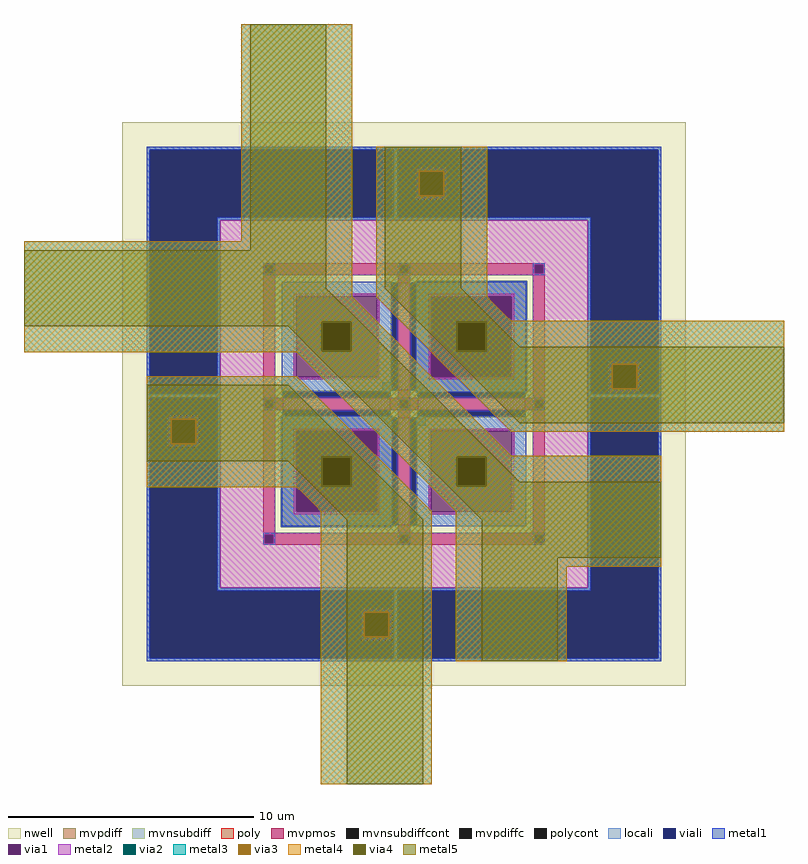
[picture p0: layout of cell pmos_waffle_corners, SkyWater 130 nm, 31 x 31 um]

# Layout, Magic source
magic
tech sky130A
<< nwell >>
rect -1125 -1175 1175 1125
<< mvpmos >>
rect 0 31 50 469
rect -469 -50 -31 0
rect 81 -50 519 0
rect 0 -519 50 -81
<< mvpdiff >>
rect 79 469 521 471
rect -29 463 0 469
rect -29 64 -23 463
rect -64 37 -23 64
rect -6 37 0 463
rect -64 31 0 37
rect 50 463 521 469
rect 50 37 56 463
rect 73 415 521 463
rect 73 85 135 415
rect 465 85 521 415
rect 73 37 521 85
rect 50 31 521 37
rect -64 29 -31 31
rect -469 23 -31 29
rect -469 6 -463 23
rect -37 6 -31 23
rect -469 0 -31 6
rect 79 29 521 31
rect 81 23 519 29
rect 81 6 87 23
rect 513 6 519 23
rect 81 0 519 6
rect -469 -56 -31 -50
rect -469 -73 -463 -56
rect -37 -73 -31 -56
rect -469 -79 -31 -73
rect -471 -81 -29 -79
rect 81 -56 519 -50
rect 81 -73 87 -56
rect 513 -73 519 -56
rect 81 -79 519 -73
rect 81 -81 114 -79
rect -471 -87 0 -81
rect -471 -135 -23 -87
rect -471 -465 -415 -135
rect -85 -465 -23 -135
rect -471 -513 -23 -465
rect -6 -513 0 -87
rect -471 -519 0 -513
rect 50 -87 114 -81
rect 50 -513 56 -87
rect 73 -114 114 -87
rect 73 -513 79 -114
rect 50 -519 79 -513
rect -471 -521 -29 -519
<< mvpdiffc >>
rect -23 37 -6 463
rect 56 37 73 463
rect -463 6 -37 23
rect 87 6 513 23
rect -463 -73 -37 -56
rect 87 -73 513 -56
rect -23 -513 -6 -87
rect 56 -513 73 -87
<< mvnsubdiff >>
rect -1025 1013 1075 1025
rect -1025 17 -1013 1013
rect -17 737 0 1013
rect -737 725 787 737
rect -737 17 -725 725
rect -1025 0 -725 17
rect -1025 -1063 -1013 0
rect -737 -775 -725 0
rect 135 403 465 415
rect 135 97 147 403
rect 453 97 465 403
rect 135 85 465 97
rect -415 -147 -85 -135
rect -415 -453 -403 -147
rect -97 -453 -85 -147
rect -415 -465 -85 -453
rect 775 17 787 725
rect 1063 17 1075 1013
rect 775 0 1075 17
rect 775 -775 787 0
rect -737 -787 787 -775
rect -17 -1063 0 -787
rect 1063 -1063 1075 0
rect -1025 -1075 1075 -1063
<< mvnsubdiffcont >>
rect -1013 737 -17 1013
rect 0 737 1063 1013
rect -1013 17 -737 737
rect -1013 -787 -737 0
rect 147 97 453 403
rect -403 -453 -97 -147
rect 787 17 1063 737
rect 787 -787 1063 0
rect -1013 -1063 -17 -787
rect 0 -1063 1063 -787
<< poly >>
rect -550 542 600 550
rect -550 508 -542 542
rect -508 508 8 542
rect 42 508 558 542
rect 592 508 600 542
rect -550 500 600 508
rect -550 0 -500 500
rect 0 469 50 500
rect 0 0 50 31
rect 550 0 600 500
rect -550 -8 -469 0
rect -550 -42 -542 -8
rect -508 -42 -469 -8
rect -550 -50 -469 -42
rect -31 -8 81 0
rect -31 -42 8 -8
rect 42 -42 81 -8
rect -31 -50 81 -42
rect 519 -8 600 0
rect 519 -42 558 -8
rect 592 -42 600 -8
rect 519 -50 600 -42
rect -550 -550 -500 -50
rect 0 -81 50 -50
rect 0 -550 50 -519
rect 550 -550 600 -50
rect -550 -558 600 -550
rect -550 -592 -542 -558
rect -508 -592 8 -558
rect 42 -592 558 -558
rect 592 -592 600 -558
rect -550 -600 600 -592
<< polycont >>
rect -542 508 -508 542
rect 8 508 42 542
rect 558 508 592 542
rect -542 -42 -508 -8
rect 8 -42 42 -8
rect 558 -42 592 -8
rect -542 -592 -508 -558
rect 8 -592 42 -558
rect 558 -592 592 -558
<< locali >>
rect -1025 1013 1075 1025
rect -1025 17 -1013 1013
rect -17 737 0 1013
rect -737 725 787 737
rect -737 17 -725 725
rect -550 542 -500 550
rect -550 508 -542 542
rect -508 508 -500 542
rect -550 500 -500 508
rect 0 542 50 550
rect 0 508 8 542
rect 42 508 50 542
rect 0 500 50 508
rect 550 542 600 550
rect 550 508 558 542
rect 592 508 600 542
rect 550 500 600 508
rect 73 471 527 477
rect -23 463 -6 471
rect -64 37 -23 64
rect -64 29 -6 37
rect 56 463 527 471
rect 73 415 527 463
rect 73 85 135 415
rect 465 85 527 415
rect 73 37 527 85
rect 56 29 527 37
rect -64 23 -29 29
rect 73 23 527 29
rect -1025 0 -725 17
rect -471 6 -463 23
rect -37 6 -29 23
rect 79 6 87 23
rect 513 6 521 23
rect 775 17 787 725
rect 1063 17 1075 1013
rect 775 0 1075 17
rect -1025 -1063 -1013 0
rect -737 -775 -725 0
rect -550 -8 -500 0
rect -550 -42 -542 -8
rect -508 -42 -500 -8
rect -550 -50 -500 -42
rect 0 -8 50 0
rect 0 -42 8 -8
rect 42 -42 50 -8
rect 0 -50 50 -42
rect 550 -8 600 0
rect 550 -42 558 -8
rect 592 -42 600 -8
rect 550 -50 600 -42
rect -471 -73 -463 -56
rect -37 -73 -29 -56
rect 79 -73 87 -56
rect 513 -73 521 -56
rect -477 -79 -23 -73
rect 79 -79 114 -73
rect -477 -87 -6 -79
rect -477 -135 -23 -87
rect -477 -465 -415 -135
rect -85 -465 -23 -135
rect -477 -513 -23 -465
rect -477 -521 -6 -513
rect 56 -87 114 -79
rect 73 -114 114 -87
rect 56 -521 73 -513
rect -477 -527 -23 -521
rect -550 -558 -500 -550
rect -550 -592 -542 -558
rect -508 -592 -500 -558
rect -550 -600 -500 -592
rect 0 -558 50 -550
rect 0 -592 8 -558
rect 42 -592 50 -558
rect 0 -600 50 -592
rect 550 -558 600 -550
rect 550 -592 558 -558
rect 592 -592 600 -558
rect 550 -600 600 -592
rect 775 -775 787 0
rect -737 -787 787 -775
rect -17 -1063 0 -787
rect 1063 -1063 1075 0
rect -1025 -1075 1075 -1063
<< viali >>
rect -1013 737 -19 1013
rect 0 737 1063 1013
rect -1013 19 -737 737
rect -542 508 -508 542
rect 8 508 42 542
rect 558 508 592 542
rect -23 37 -6 463
rect 56 37 73 463
rect 135 403 465 415
rect 135 97 147 403
rect 147 97 453 403
rect 453 97 465 403
rect 135 85 465 97
rect -463 6 -37 23
rect 87 6 513 23
rect 787 19 1063 737
rect -1013 -787 -737 0
rect -542 -42 -508 -8
rect 8 -42 42 -8
rect 558 -42 592 -8
rect -463 -73 -37 -56
rect 87 -73 513 -56
rect -415 -147 -85 -135
rect -415 -453 -403 -147
rect -403 -453 -97 -147
rect -97 -453 -85 -147
rect -415 -465 -85 -453
rect -23 -513 -6 -87
rect 56 -513 73 -87
rect -542 -592 -508 -558
rect 8 -592 42 -558
rect 558 -592 592 -558
rect 787 -787 1063 0
rect -1013 -1063 -19 -787
rect 0 -1063 1063 -787
<< metal1 >>
rect -1025 1013 1075 1025
rect -1025 19 -1013 1013
rect -19 737 0 1013
rect -737 725 787 737
rect -737 19 -725 725
rect -550 542 -500 550
rect -550 508 -542 542
rect -508 508 -500 542
rect -550 500 -500 508
rect 0 542 50 550
rect 0 508 8 542
rect 42 508 50 542
rect 0 500 50 508
rect 550 542 600 550
rect 550 508 558 542
rect 592 508 600 542
rect 550 500 600 508
rect -474 469 -26 474
rect 76 469 524 474
rect -474 463 -3 469
rect -474 415 -23 463
rect -474 85 -415 415
rect -85 85 -23 415
rect -474 37 -23 85
rect -6 37 -3 463
rect -474 31 -3 37
rect 53 463 524 469
rect 53 37 56 463
rect 73 415 524 463
rect 73 85 135 415
rect 465 85 524 415
rect 73 37 524 85
rect 53 31 524 37
rect -474 26 -26 31
rect 76 26 524 31
rect -1025 0 -725 19
rect -469 23 -31 26
rect -469 6 -463 23
rect -37 6 -31 23
rect -469 3 -31 6
rect 81 23 519 26
rect 81 6 87 23
rect 513 6 519 23
rect 81 3 519 6
rect 775 19 787 725
rect 1063 19 1075 1013
rect 775 0 1075 19
rect -1025 -1063 -1013 0
rect -737 -775 -725 0
rect -550 -8 -500 0
rect -550 -42 -542 -8
rect -508 -42 -500 -8
rect -550 -50 -500 -42
rect 0 -8 50 0
rect 0 -42 8 -8
rect 42 -42 50 -8
rect 0 -50 50 -42
rect 550 -8 600 0
rect 550 -42 558 -8
rect 592 -42 600 -8
rect 550 -50 600 -42
rect -469 -56 -31 -53
rect -469 -73 -463 -56
rect -37 -73 -31 -56
rect -469 -76 -31 -73
rect 81 -56 519 -53
rect 81 -73 87 -56
rect 513 -73 519 -56
rect 81 -76 519 -73
rect -474 -81 -26 -76
rect 76 -81 524 -76
rect -474 -87 -3 -81
rect -474 -135 -23 -87
rect -474 -465 -415 -135
rect -85 -465 -23 -135
rect -474 -513 -23 -465
rect -6 -513 -3 -87
rect -474 -519 -3 -513
rect 53 -87 524 -81
rect 53 -513 56 -87
rect 73 -135 524 -87
rect 73 -465 135 -135
rect 465 -465 524 -135
rect 73 -513 524 -465
rect 53 -519 524 -513
rect -474 -524 -26 -519
rect 76 -524 524 -519
rect -550 -558 -500 -550
rect -550 -592 -542 -558
rect -508 -592 -500 -558
rect -550 -600 -500 -592
rect 0 -558 50 -550
rect 0 -592 8 -558
rect 42 -592 50 -558
rect 0 -600 50 -592
rect 550 -558 600 -550
rect 550 -592 558 -558
rect 592 -592 600 -558
rect 550 -600 600 -592
rect 775 -775 787 0
rect -737 -787 787 -775
rect -19 -1063 0 -787
rect 1063 -1063 1075 0
rect -1025 -1075 1075 -1063
<< via1 >>
rect 88 825 188 925
rect -542 508 -508 542
rect 8 508 42 542
rect 558 508 592 542
rect -415 85 -85 415
rect 135 85 465 415
rect 875 38 975 138
rect -925 -188 -825 -88
rect -542 -42 -508 -8
rect 8 -42 42 -8
rect 558 -42 592 -8
rect -415 -465 -85 -135
rect 135 -465 465 -135
rect -542 -592 -508 -558
rect 8 -592 42 -558
rect 558 -592 592 -558
rect -138 -975 -38 -875
<< metal2 >>
rect 78 925 198 935
rect 78 825 88 925
rect 188 825 198 925
rect 78 815 198 825
rect -725 542 775 725
rect -725 508 -542 542
rect -508 508 8 542
rect 42 508 558 542
rect 592 508 775 542
rect -725 500 775 508
rect -725 0 -500 500
rect -425 415 -75 425
rect -425 85 -415 415
rect -85 85 -75 415
rect -425 75 -75 85
rect 0 0 50 500
rect 125 415 475 425
rect 125 85 135 415
rect 465 85 475 415
rect 125 75 475 85
rect 550 0 775 500
rect 865 138 985 148
rect 865 38 875 138
rect 975 38 985 138
rect 865 28 985 38
rect -725 -8 775 0
rect -725 -42 -542 -8
rect -508 -42 8 -8
rect 42 -42 558 -8
rect 592 -42 775 -8
rect -725 -50 775 -42
rect -935 -88 -815 -78
rect -935 -188 -925 -88
rect -825 -188 -815 -88
rect -935 -198 -815 -188
rect -725 -550 -500 -50
rect -425 -135 -75 -125
rect -425 -465 -415 -135
rect -85 -465 -75 -135
rect -425 -475 -75 -465
rect 0 -550 50 -50
rect 125 -135 475 -125
rect 125 -465 135 -135
rect 465 -465 475 -135
rect 125 -475 475 -465
rect 550 -550 775 -50
rect -725 -558 775 -550
rect -725 -592 -542 -558
rect -508 -592 8 -558
rect 42 -592 558 -558
rect 592 -592 775 -558
rect -725 -775 775 -592
rect -148 -875 -28 -865
rect -148 -975 -138 -875
rect -38 -975 -28 -875
rect -148 -985 -28 -975
<< via2 >>
rect 88 825 188 925
rect -310 190 -190 310
rect 240 190 360 310
rect 875 38 975 138
rect -925 -188 -825 -88
rect -310 -360 -190 -240
rect 240 -360 360 -240
rect -138 -975 -38 -875
<< metal3 >>
rect -638 638 -186 1525
rect -1525 314 -186 638
rect -88 925 364 1025
rect -88 825 88 925
rect 188 825 364 925
rect -88 412 364 825
tri -186 314 -88 412 sw
tri -88 314 10 412 ne
rect 10 314 364 412
tri 364 314 462 412 sw
rect -1525 310 -88 314
rect -1525 190 -310 310
rect -190 226 -88 310
tri -88 226 0 314 sw
tri 10 226 98 314 ne
rect 98 310 1575 314
rect 98 226 240 310
rect -190 190 0 226
rect -1525 186 0 190
tri -412 88 -314 186 ne
rect -314 138 0 186
tri 0 138 88 226 sw
tri 98 138 186 226 ne
rect 186 190 240 226
rect 360 190 1575 310
rect 186 138 1575 190
rect -314 88 88 138
rect -1025 0 -412 88
tri -412 0 -324 88 sw
tri -314 0 -226 88 ne
rect -226 58 88 88
tri 88 58 168 138 sw
tri 186 58 266 138 ne
rect 266 58 875 138
rect -226 0 168 58
rect -1025 -40 -324 0
tri -324 -40 -284 0 sw
tri -226 -40 -186 0 ne
rect -186 -40 168 0
tri 168 -40 266 58 sw
tri 266 -40 364 58 ne
rect 364 38 875 58
rect 975 38 1575 138
rect 364 -40 1575 38
rect -1025 -88 -284 -40
rect -1025 -188 -925 -88
rect -825 -138 -284 -88
tri -284 -138 -186 -40 sw
tri -186 -138 -88 -40 ne
rect -88 -138 266 -40
tri 266 -138 364 -40 sw
tri 364 -138 462 -40 ne
rect 462 -138 1575 -40
rect -825 -188 -186 -138
rect -1025 -236 -186 -188
tri -186 -236 -88 -138 sw
tri -88 -236 10 -138 ne
rect 10 -236 364 -138
tri 364 -236 462 -138 sw
rect -1025 -240 -88 -236
rect -1025 -360 -310 -240
rect -190 -324 -88 -240
tri -88 -324 0 -236 sw
tri 10 -324 98 -236 ne
rect 98 -240 1075 -236
rect 98 -324 240 -240
rect -190 -360 0 -324
rect -1025 -364 0 -360
tri 0 -364 40 -324 sw
tri 98 -364 138 -324 ne
rect 138 -360 240 -324
rect 360 -360 1075 -240
rect 138 -364 1075 -360
tri -412 -462 -314 -364 ne
rect -314 -462 40 -364
tri 40 -462 138 -364 sw
tri 138 -462 236 -364 ne
rect -314 -875 138 -462
rect -314 -975 -138 -875
rect -38 -975 138 -875
rect -314 -1575 138 -975
rect 236 -688 1075 -364
rect 236 -1075 688 -688
<< via3 >>
rect 88 825 188 925
rect -310 190 -190 310
rect 240 190 360 310
rect 875 38 975 138
rect -925 -188 -825 -88
rect -310 -360 -190 -240
rect 240 -360 360 -240
rect -138 -975 -38 -875
<< metal4 >>
rect -638 638 -186 1525
rect -1525 314 -186 638
rect -88 925 364 1025
rect -88 825 88 925
rect 188 825 364 925
rect -88 412 364 825
tri -186 314 -88 412 sw
tri -88 314 10 412 ne
rect 10 314 364 412
tri 364 314 462 412 sw
rect -1525 310 -88 314
rect -1525 190 -310 310
rect -190 226 -88 310
tri -88 226 0 314 sw
tri 10 226 98 314 ne
rect 98 310 1575 314
rect 98 226 240 310
rect -190 190 0 226
rect -1525 186 0 190
tri -412 88 -314 186 ne
rect -314 138 0 186
tri 0 138 88 226 sw
tri 98 138 186 226 ne
rect 186 190 240 226
rect 360 190 1575 310
rect 186 138 1575 190
rect -314 88 88 138
rect -1025 0 -412 88
tri -412 0 -324 88 sw
tri -314 0 -226 88 ne
rect -226 58 88 88
tri 88 58 168 138 sw
tri 186 58 266 138 ne
rect 266 58 875 138
rect -226 0 168 58
rect -1025 -40 -324 0
tri -324 -40 -284 0 sw
tri -226 -40 -186 0 ne
rect -186 -40 168 0
tri 168 -40 266 58 sw
tri 266 -40 364 58 ne
rect 364 38 875 58
rect 975 38 1575 138
rect 364 -40 1575 38
rect -1025 -88 -284 -40
rect -1025 -188 -925 -88
rect -825 -138 -284 -88
tri -284 -138 -186 -40 sw
tri -186 -138 -88 -40 ne
rect -88 -138 266 -40
tri 266 -138 364 -40 sw
tri 364 -138 462 -40 ne
rect 462 -138 1575 -40
rect -825 -188 -186 -138
rect -1025 -236 -186 -188
tri -186 -236 -88 -138 sw
tri -88 -236 10 -138 ne
rect 10 -236 364 -138
tri 364 -236 462 -138 sw
rect -1025 -240 -88 -236
rect -1025 -360 -310 -240
rect -190 -324 -88 -240
tri -88 -324 0 -236 sw
tri 10 -324 98 -236 ne
rect 98 -240 1075 -236
rect 98 -324 240 -240
rect -190 -360 0 -324
rect -1025 -364 0 -360
tri 0 -364 40 -324 sw
tri 98 -364 138 -324 ne
rect 138 -360 240 -324
rect 360 -360 1075 -240
rect 138 -364 1075 -360
tri -412 -462 -314 -364 ne
rect -314 -462 40 -364
tri 40 -462 138 -364 sw
tri 138 -462 236 -364 ne
rect -314 -875 138 -462
rect -314 -975 -138 -875
rect -38 -975 138 -875
rect -314 -1575 138 -975
rect 236 -688 1075 -364
rect 236 -1075 688 -688
<< via4 >>
rect -310 190 -190 310
rect 240 190 360 310
rect -310 -360 -190 -240
rect 240 -360 360 -240
<< metal5 >>
rect -603 603 -292 1525
rect -1525 310 -292 603
tri -292 310 -154 448 sw
rect -53 447 258 1025
tri -53 310 84 447 ne
rect 84 310 258 447
tri 258 310 396 448 sw
rect -1525 292 -310 310
tri -448 156 -312 292 ne
rect -312 190 -310 292
rect -190 190 -154 310
rect -312 156 -154 190
tri -154 156 0 310 sw
tri 84 156 238 310 ne
rect 238 190 240 310
rect 360 208 396 310
tri 396 208 498 310 sw
rect 360 190 1575 208
rect 238 156 1575 190
rect -1025 0 -447 53
tri -447 0 -394 53 sw
tri -312 0 -156 156 ne
rect -156 0 0 156
tri 0 0 156 156 sw
tri 238 0 394 156 ne
rect 394 0 1575 156
rect -1025 -103 -394 0
tri -394 -103 -291 0 sw
tri -156 -103 -53 0 ne
rect -53 -103 156 0
tri 156 -103 259 0 sw
tri 394 -103 497 0 ne
rect 497 -103 1575 0
rect -1025 -240 -291 -103
tri -291 -240 -154 -103 sw
tri -53 -240 84 -103 ne
rect 84 -240 259 -103
tri 259 -240 396 -103 sw
rect -1025 -258 -310 -240
tri -448 -360 -346 -258 ne
rect -346 -360 -310 -258
rect -190 -360 -154 -240
tri -346 -498 -208 -360 ne
rect -208 -394 -154 -360
tri -154 -394 0 -240 sw
tri 84 -394 238 -240 ne
rect 238 -360 240 -240
rect 360 -342 396 -240
tri 396 -342 498 -240 sw
rect 360 -360 1075 -342
rect 238 -394 1075 -360
rect -208 -497 0 -394
tri 0 -497 103 -394 sw
rect -208 -1575 103 -497
tri 238 -498 342 -394 ne
rect 342 -653 1075 -394
rect 342 -1075 653 -653
<< end >>
